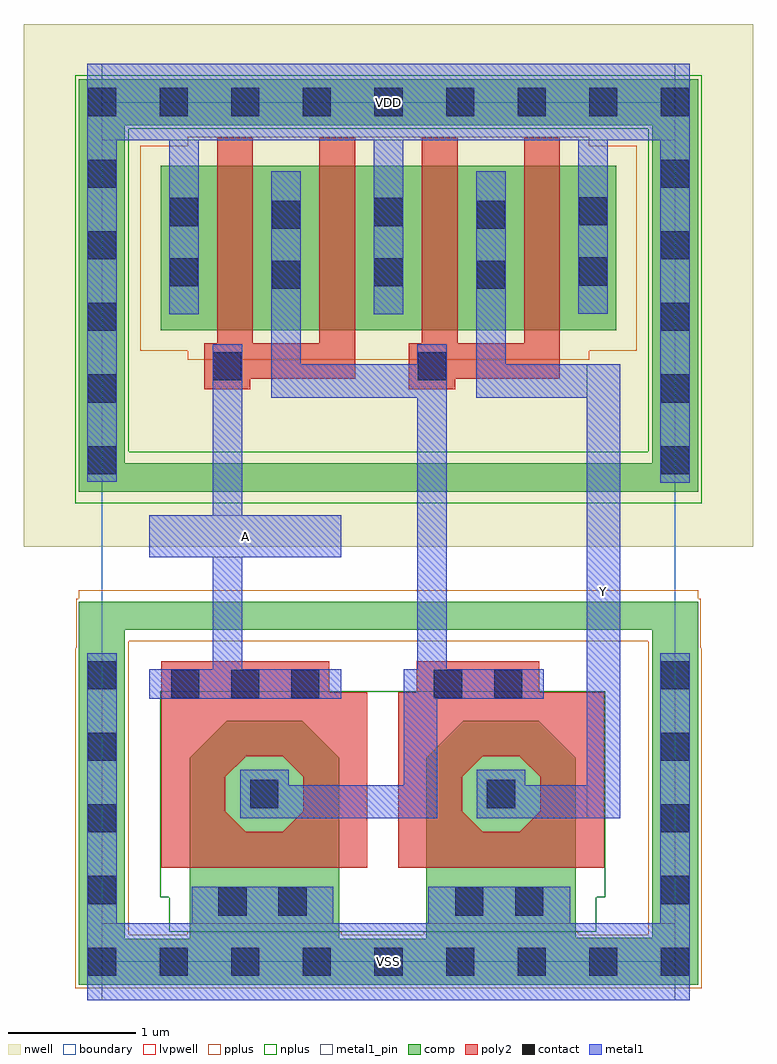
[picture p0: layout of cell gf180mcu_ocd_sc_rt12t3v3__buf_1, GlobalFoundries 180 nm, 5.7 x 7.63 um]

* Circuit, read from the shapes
.subckt gf180mcu_ocd_sc_rt12t3v3__buf_1 A VDD VSS Y
XM1 n1 A VSS VSS nfet_03v3 w=1.785u l=0.536u
XM2 Y n1 VSS VSS nfet_03v3 w=1.785u l=0.5325u
XM3 n1 A VDD VDD pfet_03v3 w=1.285u l=0.28u m=2
XM4 Y n1 VDD VDD pfet_03v3 w=1.285u l=0.28u m=2
.ends

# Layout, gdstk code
import gdstk
lib = gdstk.Library(unit=1e-6, precision=1e-09)
def R(c, l, rs):  # rectangles x0, y0, x1, y1
    for r in rs: c.add(gdstk.rectangle(r[:2], r[2:], *l))
def A(c, l, x, y, w, h, nx, ny, dx, dy):  # array of equal rectangles
    R(c, l, [(x+i*dx, y+j*dy, x+i*dx+w, y+j*dy+h) for i in range(nx) for j in range(ny)])
def P(c, l, *ps):  # polygons
    for p in ps: c.add(gdstk.Polygon(p, *l))
boundary = (0, 0)
nwell = (21, 0)
comp = (22, 0)
poly2 = (30, 0)
pplus = (31, 0)
nplus = (32, 0)
contact = (33, 0)
metal1 = (34, 0)
metal1_pin = (34, 10)
lvpwell = (204, 0)

gf180mcu_ocd_sc_rt12t3v3 = lib.new_cell('gf180mcu_ocd_sc_rt12t3v3__buf_1')
R(gf180mcu_ocd_sc_rt12t3v3, boundary, [(0,0,4.48,6.72)])
R(gf180mcu_ocd_sc_rt12t3v3, nwell, [(-0.61,3.245,5.09,7.33)])
R(gf180mcu_ocd_sc_rt12t3v3, comp, [(-0.18,-0.18,4.66,0.18), (-0.18,0.18,0.18,2.595), (0.685,0.18,1.855,1.595), (2.535,0.18,4.66,0.185), (2.535,0.185,3.705,1.595), (4.3,0.185,4.66,2.595), (0.975,1.595,1.565,1.885), (2.825,1.595,3.415,1.885), (-0.18,2.595,4.66,2.815), (-0.18,3.675,4.66,3.895), (-0.18,3.895,0.18,6.54), (4.3,3.895,4.66,6.54), (0.46,4.935,4.02,6.22), (-0.18,6.54,4.66,6.9)])
P(gf180mcu_ocd_sc_rt12t3v3, comp, [(0.685,1.595),(0.975,1.595),(0.975,1.885)],
  [(1.565,1.885),(1.565,1.595),(1.855,1.595)],
  [(2.535,1.595),(2.825,1.595),(2.825,1.885)],
  [(3.415,1.885),(3.415,1.595),(3.705,1.595)])
A(gf180mcu_ocd_sc_rt12t3v3, poly2, 0.9, 4.835, 0.28, 1.605, 4, 1, 0.8, 0)
R(gf180mcu_ocd_sc_rt12t3v3, poly2, [(0.465,0.735,2.075,1.015), (2.315,0.735,3.925,1.015), (0.465,1.015,0.965,1.595), (1.575,1.015,2.075,1.595), (2.315,1.015,2.815,1.595), (3.425,1.015,3.925,1.595), (0.465,1.595,1.115,1.605), (1.425,1.595,2.075,1.605), (2.315,1.595,2.965,1.605), (3.275,1.595,3.925,1.605), (0.465,1.605,2.075,2.105), (2.315,1.605,3.925,2.105), (0.465,2.105,1.775,2.35), (2.46,2.105,3.42,2.35), (0.8,4.475,1.16,4.555), (2.4,4.475,2.76,4.555), (0.8,4.555,1.98,4.835), (2.4,4.555,3.58,4.835)])
P(gf180mcu_ocd_sc_rt12t3v3, poly2, [(1.115,1.595),(1.115,1.605),(1.125,1.605)],
  [(1.415,1.605),(1.425,1.605),(1.425,1.595)],
  [(0.965,1.445),(0.965,1.595),(1.115,1.595)],
  [(1.425,1.595),(1.575,1.595),(1.575,1.445)],
  [(0.965,1.175),(0.965,1.015),(1.125,1.015)],
  [(1.415,1.015),(1.575,1.015),(1.575,1.175)],
  [(2.965,1.595),(2.965,1.605),(2.975,1.605)],
  [(3.265,1.605),(3.275,1.605),(3.275,1.595)],
  [(2.815,1.445),(2.815,1.595),(2.965,1.595)],
  [(3.275,1.595),(3.425,1.595),(3.425,1.445)],
  [(2.815,1.175),(2.815,1.015),(2.975,1.015)],
  [(3.265,1.015),(3.425,1.015),(3.425,1.175)])
R(gf180mcu_ocd_sc_rt12t3v3, pplus, [(-0.21,-0.21,4.69,0.21), (-0.21,0.21,0.21,2.45), (0.665,0.21,1.875,0.235), (2.515,0.21,3.725,0.235), (4.27,0.21,4.69,2.45), (-0.2,2.45,0.21,2.505), (4.27,2.45,4.68,2.505), (-0.2,2.505,4.68,2.835), (-0.18,2.835,4.66,2.905), (0.67,4.705,3.81,4.775), (0.3,4.775,4.18,6.38), (0.67,6.38,3.81,6.45)])
R(gf180mcu_ocd_sc_rt12t3v3, nplus, [(0.525,0.235,3.865,0.505), (0.455,0.505,3.935,2.115), (-0.21,3.585,4.69,3.985), (-0.21,3.985,0.21,6.51), (4.27,3.985,4.69,6.51), (-0.21,6.51,4.69,6.93)])
A(gf180mcu_ocd_sc_rt12t3v3, contact, -0.11, -0.11, 0.22, 0.22, 9, 2, 0.56, 6.72)
A(gf180mcu_ocd_sc_rt12t3v3, contact, -0.11, 0.45, 0.22, 0.22, 1, 4, 0, 0.56)
A(gf180mcu_ocd_sc_rt12t3v3, contact, 4.37, 0.45, 0.22, 0.22, 1, 4, 0, 0.56)
A(gf180mcu_ocd_sc_rt12t3v3, contact, 0.54, 2.06, 0.22, 0.22, 3, 1, 0.47, 0)
A(gf180mcu_ocd_sc_rt12t3v3, contact, -0.11, 3.81, 0.22, 0.22, 1, 5, 0, 0.56)
A(gf180mcu_ocd_sc_rt12t3v3, contact, 4.37, 3.81, 0.22, 0.22, 1, 5, 0, 0.56)
R(gf180mcu_ocd_sc_rt12t3v3, contact, [(0.91,0.36,1.13,0.58), (1.38,0.36,1.6,0.58), (2.76,0.36,2.98,0.58), (3.23,0.36,3.45,0.58), (1.16,1.2,1.38,1.42), (3.01,1.2,3.23,1.42), (2.595,2.06,2.815,2.28), (3.065,2.06,3.285,2.28), (0.87,4.545,1.09,4.765), (2.47,4.545,2.69,4.765), (1.33,5.26,1.55,5.48), (2.93,5.26,3.15,5.48), (0.53,5.28,0.75,5.5), (2.13,5.28,2.35,5.5), (3.73,5.285,3.95,5.505), (1.33,5.73,1.55,5.95), (2.93,5.73,3.15,5.95), (0.53,5.75,0.75,5.97), (2.13,5.75,2.35,5.97), (3.73,5.755,3.95,5.975)])
R(gf180mcu_ocd_sc_rt12t3v3, metal1, [(-0.115,-0.3,4.595,0.3), (-0.115,0.3,0.115,2.41), (0.7,0.3,1.81,0.585), (2.55,0.3,3.66,0.585), (4.365,0.3,4.595,2.41), (1.08,1.12,2.62,1.38), (2.93,1.12,4.05,1.38), (1.08,1.38,1.46,1.5), (2.36,1.38,2.62,2.055), (2.93,1.38,3.31,1.5), (3.79,1.38,4.05,4.41), (0.37,2.055,1.87,2.285), (2.36,2.055,3.455,2.285), (0.865,2.285,1.095,3.16), (2.465,2.285,2.695,4.41), (0.37,3.16,1.87,3.49), (0.865,3.49,1.095,4.825), (4.365,3.745,4.595,6.42), (-0.115,3.75,0.115,6.42), (1.325,4.41,2.695,4.67), (2.925,4.41,4.05,4.67), (1.325,4.67,1.555,6.18), (2.465,4.67,2.695,4.825), (2.925,4.67,3.155,6.18), (0.525,5.06,0.755,6.42), (2.125,5.06,2.355,6.42), (3.725,5.065,3.955,6.42), (-0.115,6.42,4.595,7.02)])
R(gf180mcu_ocd_sc_rt12t3v3, metal1_pin, [(0,-0.3,4.48,0.3), (3.79,1.12,4.05,4.67), (0.37,3.16,1.87,3.49), (0,6.42,4.48,7.02)])
R(gf180mcu_ocd_sc_rt12t3v3, lvpwell, [(0,-0.3,4.48,-0.18), (-0.18,-0.18,4.66,2.815)])
gf180mcu_ocd_sc_rt12t3v3.add(gdstk.Label('A', (1.12,3.325), layer=34, texttype=10))
gf180mcu_ocd_sc_rt12t3v3.add(gdstk.Label('Y', (3.92,2.895), layer=34, texttype=10))
gf180mcu_ocd_sc_rt12t3v3.add(gdstk.Label('VDD', (2.24,6.72), layer=34, texttype=10))
gf180mcu_ocd_sc_rt12t3v3.add(gdstk.Label('VSS', (2.24,0), layer=34, texttype=10))

lib.write_gds('gf180mcu_ocd_sc_rt12t3v3__buf_1.gds')
